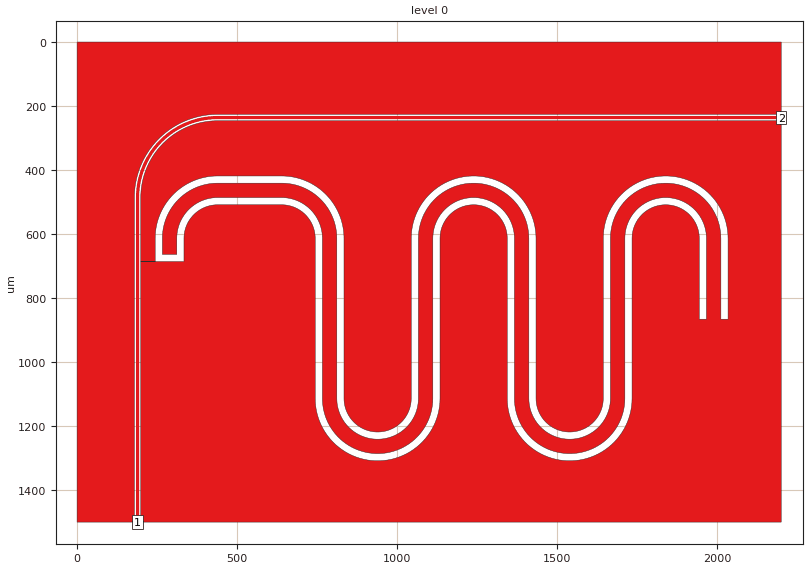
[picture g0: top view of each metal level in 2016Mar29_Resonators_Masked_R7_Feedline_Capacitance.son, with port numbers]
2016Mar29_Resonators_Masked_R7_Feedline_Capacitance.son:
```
FTYP SONPROJ 15 ! Sonnet Project File
VER 16.52
HEADER
LIC calt2.2.43068 b4ae2bd1247e DESKTOP-SL82IK9 Michael
DAT 04/07/2016 19:35:51
BUILT_BY_CREATED xgeom 16.52 03/26/2016 21:21:12
BUILT_BY_SAVED xgeom 16.52
MDATE 04/07/2016 18:21:02
HDATE 04/07/2016 18:21:02
END HEADER
DIM
FREQ GHZ
IND NH
LNG UM
ANG DEG
CON /OH
CAP PF
RES OH
END DIM
FREQ
ABS 5.9 6.2 
END FREQ
CONTROL
ABS
OPTIONS  -d 
SPEED 0
CACHE_ABS 1
TARG_ABS 300
Q_ACC N
DET_ABS_RES Y
END CONTROL
GEO
TMET "Lossless" 0 SUP 0 0 0 0
BMET "Lossless" 0 SUP 0 0 0 0
BOX 1 2201.5 1501.5 1258 858 20 0
      1000 1 1 0 0 0 0 "Air"
      500 11.9 1 5e-006 0 0 0 "Silicon (intrinsic)"
LORGN 0 1501.5 U 
POR1 STD
POLY 9 1
102
1 50 0 0 0 189 1500 
POR1 STD
POLY 9 1
50
2 50 0 0 0 2199.999997 236 
NUM 3
0 105 -1 N 9 1 1 100 100 0 0 0 Y
194 486
194.13 478.15
194.5 470.3
195.13 462.47
196.01 454.67
197.14 446.9
198.52 439.17
200.14 431.48
202.01 423.85
204.13 416.29
206.48 408.8
209.07 401.39
211.9 394.06
214.97 386.83
218.26 379.7
221.78 372.68
225.53 365.77
229.49 358.99
233.67 352.34
238.06 345.83
242.65 339.46
247.45 333.24
252.45 327.18
257.63 321.29
263 315.56
268.56 310
274.29 304.63
280.18 299.45
286.24 294.45
292.46 289.65
298.83 285.06
305.34 280.67
311.99 276.49
318.77 272.53
325.68 268.78
332.7 265.26
339.83 261.97
347.06 258.9
354.39 256.07
361.8 253.48
369.29 251.13
376.86 249.01
384.48 247.14
392.17 245.52
399.9 244.14
407.67 243.01
415.47 242.13
423.3 241.5
431.15 241.13
439 241
2199.999997 241
2199.999997 231
439 231
430.83 231.13
422.66 231.52
414.51 232.18
406.39 233.09
398.3 234.27
390.26 235.7
382.26 237.39
374.32 239.34
366.44 241.54
358.65 243.99
350.93 246.69
343.31 249.64
335.78 252.82
328.36 256.25
321.05 259.92
313.87 263.81
306.81 267.94
299.89 272.29
293.11 276.86
286.48 281.64
280.01 286.63
273.7 291.83
267.56 297.23
261.6 302.82
255.82 308.6
250.23 314.56
244.83 320.7
239.63 327.01
234.64 333.48
229.86 340.11
225.29 346.89
220.94 353.81
216.81 360.87
212.92 368.05
209.25 375.36
205.82 382.78
202.64 390.31
199.69 397.93
196.99 405.65
194.54 413.44
192.34 421.32
190.39 429.26
188.7 437.26
187.27 445.3
186.09 453.39
185.18 461.51
184.52 469.66
184.13 477.83
184 486
184 1500
194 1500
194 486
END
0 1266 -1 N 12 1 1 100 100 0 0 0 Y
2199.99993 246
439 246
431.31 246.12
423.62 246.49
415.95 247.11
408.31 247.97
400.7 249.08
393.12 250.43
385.6 252.02
378.12 253.85
370.71 255.92
363.37 258.23
356.11 260.77
348.94 263.54
341.85 266.54
334.87 269.77
327.99 273.22
321.23 276.88
314.59 280.77
308.07 284.86
301.69 289.16
295.45 293.66
289.36 298.36
283.43 303.25
277.65 308.33
272.04 313.6
266.6 319.04
261.33 324.65
256.25 330.43
251.36 336.36
246.66 342.45
242.16 348.69
237.86 355.07
233.77 361.59
229.88 368.23
226.22 374.99
222.77 381.87
219.54 388.85
216.54 395.94
213.77 403.11
211.23 410.37
208.92 417.71
206.85 425.12
205.02 432.6
203.43 440.12
202.08 447.7
200.97 455.31
200.11 462.95
199.49 470.62
199.12 478.31
199 486
199 686
244 686
244 613.5
244.1 607.25
244.4 601.01
244.9 594.78
245.6 588.56
246.5 582.38
247.6 576.22
248.89 570.11
250.38 564.04
252.06 558.02
253.93 552.05
256 546.15
258.25 540.32
260.69 534.57
263.31 528.89
266.11 523.31
269.09 517.81
272.25 512.41
275.57 507.12
279.07 501.94
282.72 496.87
286.54 491.92
290.52 487.1
294.65 482.4
298.92 477.84
303.34 473.42
307.9 469.15
312.6 465.02
317.42 461.04
322.37 457.22
327.44 453.57
332.62 450.07
337.91 446.75
343.31 443.59
348.81 440.61
354.39 437.81
360.07 435.19
365.82 432.75
371.65 430.5
377.55 428.43
383.52 426.56
389.54 424.88
395.61 423.39
401.72 422.1
407.88 421
414.06 420.1
420.28 419.4
426.51 418.9
432.75 418.6
439 418.5
639 418.5
645.25 418.6
651.49 418.9
657.72 419.4
663.94 420.1
670.12 421
676.28 422.1
682.39 423.39
688.46 424.88
694.48 426.56
700.45 428.43
706.35 430.5
712.18 432.75
717.93 435.19
723.61 437.81
729.19 440.61
734.69 443.59
740.09 446.75
745.38 450.07
750.56 453.57
755.63 457.22
760.58 461.04
765.4 465.02
770.1 469.15
774.66 473.42
779.08 477.84
783.35 482.4
787.48 487.1
791.46 491.92
795.28 496.87
798.93 501.94
802.43 507.12
805.75 512.41
808.91 517.81
811.89 523.31
814.69 528.89
817.31 534.57
819.75 540.32
822 546.15
824.07 552.05
825.94 558.02
827.62 564.04
829.11 570.11
830.4 576.22
831.5 582.38
832.4 588.56
833.1 594.78
833.6 601.01
833.9 607.25
834 613.5
834 1113.5
834.22 1120.23
834.86 1126.93
835.94 1133.57
837.43 1140.13
839.35 1146.59
841.67 1152.9
844.4 1159.06
847.51 1165.03
851 1170.78
854.85 1176.3
859.05 1181.56
863.57 1186.55
868.41 1191.23
873.53 1195.59
878.93 1199.62
884.57 1203.29
890.43 1206.59
896.5 1209.51
902.74 1212.04
909.13 1214.16
915.64 1215.87
922.24 1217.15
928.92 1218.01
935.64 1218.45
942.36 1218.45
949.08 1218.01
955.76 1217.15
962.36 1215.87
968.88 1214.16
975.26 1212.04
981.5 1209.51
987.57 1206.59
993.43 1203.29
999.07 1199.62
1004.47 1195.59
1009.59 1191.23
1014.43 1186.55
1018.95 1181.56
1023.15 1176.3
1027 1170.78
1030.49 1165.03
1033.6 1159.06
1036.33 1152.9
1038.65 1146.59
1040.57 1140.13
1042.06 1133.57
1043.14 1126.93
1043.78 1120.23
1044 1113.5
1044 613.5
1044.4 601.01
1045.6 588.56
1047.6 576.22
1050.38 564.04
1053.93 552.05
1058.25 540.32
1063.31 528.89
1069.09 517.81
1075.57 507.12
1082.72 496.87
1090.52 487.1
1098.92 477.84
1107.9 469.15
1117.42 461.04
1127.44 453.57
1137.91 446.75
1148.81 440.61
1160.07 435.19
1171.65 430.5
1183.52 426.56
1195.61 423.39
1207.88 421
1220.28 419.4
1232.75 418.6
1245.25 418.6
1257.72 419.4
1270.12 421
1282.39 423.39
1294.48 426.56
1306.35 430.5
1317.93 435.19
1329.19 440.61
1340.09 446.75
1350.56 453.57
1360.58 461.04
1370.1 469.15
1379.08 477.84
1387.48 487.1
1395.28 496.87
1402.43 507.12
1408.91 517.81
1414.69 528.89
1419.75 540.32
1424.07 552.05
1427.62 564.04
1430.4 576.22
1432.4 588.56
1433.6 601.01
1434 613.5
1434 1113.5
1434.22 1120.23
1434.86 1126.93
1435.94 1133.57
1437.43 1140.13
1439.35 1146.59
1441.67 1152.9
1444.4 1159.06
1447.51 1165.03
1451 1170.78
1454.85 1176.3
1459.05 1181.56
1463.57 1186.55
1468.41 1191.23
1473.53 1195.59
1478.93 1199.62
1484.57 1203.29
1490.43 1206.59
1496.5 1209.51
1502.74 1212.04
1509.13 1214.16
1515.64 1215.87
1522.24 1217.15
1528.92 1218.01
1535.64 1218.45
1542.36 1218.45
1549.08 1218.01
1555.76 1217.15
1562.36 1215.87
1568.88 1214.16
1575.26 1212.04
1581.5 1209.51
1587.57 1206.59
1593.43 1203.29
1599.07 1199.62
1604.47 1195.59
1609.59 1191.23
1614.43 1186.55
1618.95 1181.56
1623.15 1176.3
1627 1170.78
1630.49 1165.03
1633.6 1159.06
1636.33 1152.9
1638.65 1146.59
1640.57 1140.13
1642.06 1133.57
1643.14 1126.93
1643.78 1120.23
1644 1113.5
1644 613.5
1644.4 601.01
1645.6 588.56
1647.6 576.22
1650.38 564.04
1653.93 552.05
1658.25 540.32
1663.31 528.89
1669.09 517.81
1675.57 507.12
1682.72 496.87
1690.52 487.1
1698.92 477.84
1707.9 469.15
1717.42 461.04
1727.44 453.57
1737.91 446.75
1748.81 440.61
1760.07 435.19
1771.65 430.5
1783.52 426.56
1795.61 423.39
1807.88 421
1820.28 419.4
1832.75 418.6
1845.25 418.6
1857.72 419.4
1870.12 421
1882.39 423.39
1894.48 426.56
1906.35 430.5
1917.93 435.19
1929.2 440.61
1940.09 446.75
1950.56 453.57
1960.58 461.04
1970.1 469.15
1979.08 477.84
1987.48 487.1
1995.28 496.87
2002.43 507.12
2008.91 517.81
2014.69 528.89
2019.75 540.32
2024.07 552.05
2027.62 564.04
2030.4 576.22
2032.4 588.56
2033.6 601.01
2034 613.5
2034 866
2011.5 866
2011.5 613.5
2011.15 602.45
2010.08 591.44
2008.32 580.52
2005.86 569.74
2002.71 559.14
1998.89 548.77
1994.42 538.65
1989.3 528.85
1983.57 519.39
1977.24 510.33
1970.35 501.68
1962.92 493.49
1954.97 485.8
1946.55 478.63
1937.69 472.02
1928.42 465.99
1918.79 460.56
1908.82 455.76
1898.57 451.61
1888.08 448.13
1877.39 445.32
1866.53 443.21
1855.56 441.8
1844.53 441.09
1833.47 441.09
1822.44 441.8
1811.47 443.21
1800.61 445.32
1789.92 448.13
1779.43 451.61
1769.18 455.76
1759.21 460.56
1749.58 465.99
1740.31 472.02
1731.45 478.63
1723.03 485.8
1715.09 493.49
1707.65 501.68
1700.76 510.33
1694.43 519.39
1688.7 528.85
1683.58 538.65
1679.11 548.77
1675.29 559.14
1672.14 569.74
1669.68 580.52
1667.92 591.44
1666.85 602.45
1666.5 613.5
1666.5 1113.5
1666.24 1121.67
1665.45 1129.8
1664.15 1137.87
1662.33 1145.84
1660.01 1153.68
1657.18 1161.35
1653.87 1168.82
1650.09 1176.07
1645.86 1183.06
1641.18 1189.76
1636.08 1196.15
1630.59 1202.2
1624.72 1207.88
1618.49 1213.18
1611.94 1218.07
1605.1 1222.53
1597.97 1226.54
1590.61 1230.09
1583.03 1233.15
1575.28 1235.73
1567.37 1237.8
1559.35 1239.37
1551.24 1240.41
1543.09 1240.93
1534.91 1240.93
1526.76 1240.41
1518.65 1239.37
1510.63 1237.8
1502.72 1235.73
1494.97 1233.15
1487.39 1230.09
1480.03 1226.54
1472.9 1222.53
1466.06 1218.07
1459.51 1213.18
1453.28 1207.88
1447.41 1202.2
1441.92 1196.15
1436.82 1189.76
1432.14 1183.06
1427.91 1176.07
1424.13 1168.82
1420.82 1161.35
1417.99 1153.68
1415.67 1145.84
1413.85 1137.87
1412.55 1129.8
1411.76 1121.67
1411.5 1113.5
1411.5 613.5
1411.15 602.45
1410.08 591.44
1408.32 580.52
1405.86 569.74
1402.71 559.14
1398.89 548.77
1394.42 538.65
1389.3 528.85
1383.57 519.39
1377.24 510.33
1370.35 501.68
1362.92 493.49
1354.97 485.8
1346.55 478.63
1337.69 472.02
1328.42 465.99
1318.79 460.56
1308.82 455.76
1298.57 451.61
1288.08 448.13
1277.39 445.32
1266.53 443.21
1255.56 441.8
1244.53 441.09
1233.47 441.09
1222.44 441.8
1211.47 443.21
1200.61 445.32
1189.92 448.13
1179.43 451.61
1169.18 455.76
1159.21 460.56
1149.58 465.99
1140.31 472.02
1131.45 478.63
1123.03 485.8
1115.09 493.49
1107.65 501.68
1100.76 510.33
1094.43 519.39
1088.7 528.85
1083.58 538.65
1079.11 548.77
1075.29 559.14
1072.14 569.74
1069.68 580.52
1067.92 591.44
1066.85 602.45
1066.5 613.5
1066.5 1113.5
1066.24 1121.67
1065.45 1129.8
1064.15 1137.87
1062.33 1145.84
1060.01 1153.68
1057.18 1161.35
1053.87 1168.82
1050.09 1176.07
1045.86 1183.06
1041.18 1189.76
1036.08 1196.15
1030.59 1202.2
1024.72 1207.88
1018.49 1213.18
1011.94 1218.07
1005.1 1222.53
997.97 1226.54
990.61 1230.09
983.03 1233.15
975.28 1235.73
967.37 1237.8
959.35 1239.37
951.24 1240.41
943.09 1240.93
934.91 1240.93
926.76 1240.41
918.65 1239.37
910.63 1237.8
902.72 1235.73
894.97 1233.15
887.39 1230.09
880.03 1226.54
872.9 1222.53
866.06 1218.07
859.51 1213.18
853.28 1207.88
847.41 1202.2
841.92 1196.15
836.82 1189.76
832.14 1183.06
827.91 1176.07
824.13 1168.82
820.82 1161.35
817.99 1153.68
815.67 1145.84
813.85 1137.87
812.55 1129.8
811.76 1121.67
811.5 1113.5
811.5 613.5
811.41 607.97
811.15 602.45
810.7 596.94
810.08 591.44
809.29 585.97
808.32 580.52
807.18 575.11
805.86 569.74
804.37 564.42
802.71 559.14
800.89 553.93
798.89 548.77
796.74 543.68
794.42 538.65
791.94 533.71
789.3 528.85
786.51 524.08
783.57 519.39
780.48 514.81
777.24 510.33
773.87 505.95
770.35 501.68
766.7 497.53
762.92 493.49
759.01 489.58
754.97 485.8
750.82 482.15
746.55 478.63
742.17 475.26
737.69 472.02
733.11 468.93
728.42 465.99
723.65 463.2
718.79 460.56
713.85 458.08
708.82 455.76
703.73 453.61
698.57 451.61
693.36 449.79
688.08 448.13
682.76 446.64
677.39 445.32
671.98 444.18
666.53 443.21
661.06 442.42
655.56 441.8
650.05 441.35
644.53 441.09
639 441
439 441
433.47 441.09
427.95 441.35
422.44 441.8
416.94 442.42
411.47 443.21
406.03 444.18
400.61 445.32
395.24 446.64
389.92 448.13
384.64 449.79
379.43 451.61
374.27 453.61
369.18 455.76
364.15 458.08
359.21 460.56
354.35 463.2
349.58 465.99
344.9 468.93
340.31 472.02
335.83 475.26
331.45 478.63
327.18 482.15
323.03 485.8
318.99 489.58
315.09 493.49
311.3 497.53
307.65 501.68
304.13 505.95
300.76 510.33
297.52 514.81
294.43 519.39
291.49 524.08
288.7 528.85
286.06 533.71
283.58 538.65
281.26 543.68
279.11 548.77
277.11 553.93
275.29 559.14
273.63 564.42
272.14 569.74
270.82 575.11
269.68 580.52
268.71 585.97
267.92 591.44
267.3 596.94
266.85 602.45
266.59 607.97
266.5 613.5
266.5 663.5
311.5 663.5
311.5 613.5
311.57 609.41
311.76 605.33
312.09 601.26
312.55 597.2
313.13 593.15
313.85 589.13
314.7 585.13
315.67 581.16
316.77 577.22
317.99 573.32
319.35 569.47
320.82 565.65
322.41 561.89
324.13 558.18
325.96 554.53
327.91 550.93
329.97 547.4
332.14 543.94
334.43 540.56
336.82 537.24
339.32 534.01
341.92 530.85
344.61 527.78
347.41 524.8
350.3 521.91
353.28 519.11
356.35 516.42
359.51 513.82
362.74 511.32
366.06 508.93
369.44 506.64
372.9 504.47
376.43 502.41
380.03 500.46
383.68 498.63
387.39 496.91
391.15 495.32
394.97 493.85
398.82 492.49
402.72 491.27
406.66 490.17
410.63 489.2
414.63 488.35
418.65 487.63
422.7 487.05
426.76 486.59
430.83 486.26
434.91 486.07
439 486
639 486
643.09 486.07
647.17 486.26
651.24 486.59
655.3 487.05
659.35 487.63
663.37 488.35
667.37 489.2
671.34 490.17
675.28 491.27
679.18 492.49
683.03 493.85
686.85 495.32
690.61 496.91
694.32 498.63
697.97 500.46
701.57 502.41
705.1 504.47
708.56 506.64
711.94 508.93
715.26 511.32
718.49 513.82
721.65 516.42
724.72 519.11
727.7 521.91
730.59 524.8
733.39 527.78
736.08 530.85
738.68 534.01
741.18 537.24
743.57 540.56
745.86 543.94
748.03 547.4
750.09 550.93
752.04 554.53
753.87 558.18
755.59 561.89
757.18 565.65
758.65 569.47
760.01 573.32
761.23 577.22
762.33 581.16
763.3 585.13
764.15 589.13
764.87 593.15
765.45 597.2
765.91 601.26
766.24 605.33
766.43 609.41
766.5 613.5
766.5 1113.5
766.85 1124.55
767.92 1135.56
769.68 1146.47
772.14 1157.26
775.29 1167.86
779.11 1178.23
783.58 1188.34
788.7 1198.15
794.43 1207.6
800.76 1216.67
807.65 1225.32
815.09 1233.51
823.03 1241.2
831.45 1248.37
840.31 1254.98
849.58 1261.01
859.21 1266.44
869.18 1271.24
879.43 1275.39
889.92 1278.87
900.61 1281.67
911.47 1283.79
922.44 1285.2
933.47 1285.91
944.53 1285.91
955.56 1285.2
966.53 1283.79
977.39 1281.67
988.08 1278.87
998.57 1275.39
1008.82 1271.24
1018.79 1266.44
1028.42 1261.01
1037.69 1254.98
1046.55 1248.37
1054.97 1241.2
1062.92 1233.51
1070.35 1225.32
1077.24 1216.67
1083.57 1207.6
1089.3 1198.15
1094.42 1188.34
1098.89 1178.23
1102.71 1167.86
1105.86 1157.26
1108.32 1146.47
1110.08 1135.56
1111.15 1124.55
1111.5 1113.5
1111.5 613.5
1111.76 605.33
1112.55 597.2
1113.85 589.13
1115.67 581.16
1117.99 573.32
1120.82 565.65
1124.13 558.18
1127.91 550.93
1132.14 543.94
1136.82 537.24
1141.92 530.85
1147.41 524.8
1153.28 519.11
1159.51 513.82
1166.06 508.93
1172.9 504.47
1180.03 500.46
1187.39 496.91
1194.97 493.85
1202.72 491.27
1210.63 489.2
1218.65 487.63
1226.76 486.59
1234.91 486.07
1243.09 486.07
1251.24 486.59
1259.35 487.63
1267.37 489.2
1275.28 491.27
1283.03 493.85
1290.61 496.91
1297.97 500.46
1305.1 504.47
1311.94 508.93
1318.49 513.82
1324.72 519.11
1330.59 524.8
1336.08 530.85
1341.18 537.24
1345.86 543.94
1350.09 550.93
1353.87 558.18
1357.18 565.65
1360.01 573.32
1362.33 581.16
1364.15 589.13
1365.45 597.2
1366.24 605.33
1366.5 613.5
1366.5 1113.5
1366.85 1124.55
1367.92 1135.56
1369.68 1146.47
1372.14 1157.26
1375.29 1167.86
1379.11 1178.23
1383.58 1188.34
1388.7 1198.15
1394.43 1207.6
1400.76 1216.67
1407.65 1225.32
1415.09 1233.51
1423.03 1241.2
1431.45 1248.37
1440.31 1254.98
1449.58 1261.01
1459.21 1266.44
1469.18 1271.24
1479.43 1275.39
1489.92 1278.87
1500.61 1281.67
1511.47 1283.79
1522.44 1285.2
1533.47 1285.91
1544.53 1285.91
1555.56 1285.2
1566.53 1283.79
1577.39 1281.67
1588.08 1278.87
1598.57 1275.39
1608.82 1271.24
1618.79 1266.44
1628.42 1261.01
1637.69 1254.98
1646.55 1248.37
1654.97 1241.2
1662.92 1233.51
1670.35 1225.32
1677.24 1216.67
1683.57 1207.6
1689.3 1198.15
1694.42 1188.34
1698.89 1178.23
1702.71 1167.86
1705.86 1157.26
1708.32 1146.47
1710.08 1135.56
1711.15 1124.55
1711.5 1113.5
1711.5 613.5
1711.76 605.33
1712.55 597.2
1713.85 589.13
1715.67 581.16
1717.99 573.32
1720.82 565.65
1724.13 558.18
1727.91 550.93
1732.14 543.94
1736.82 537.24
1741.92 530.85
1747.41 524.8
1753.28 519.11
1759.51 513.82
1766.06 508.93
1772.9 504.47
1780.03 500.46
1787.39 496.91
1794.97 493.85
1802.72 491.27
1810.63 489.2
1818.65 487.63
1826.76 486.59
1834.91 486.07
1843.09 486.07
1851.24 486.59
1859.35 487.63
1867.37 489.2
1875.28 491.27
1883.03 493.85
1890.61 496.91
1897.97 500.46
1905.1 504.47
1911.95 508.93
1918.49 513.82
1924.72 519.11
1930.59 524.8
1936.08 530.85
1941.18 537.24
1945.86 543.94
1950.09 550.93
1953.87 558.18
1957.18 565.65
1960.01 573.32
1962.33 581.16
1964.15 589.13
1965.45 597.2
1966.24 605.33
1966.5 613.5
1966.5 866
1944 866
1944 613.5
1943.78 606.77
1943.14 600.07
1942.06 593.43
1940.57 586.87
1938.65 580.41
1936.33 574.1
1933.6 567.94
1930.49 561.98
1927 556.22
1923.15 550.7
1918.95 545.44
1914.43 540.45
1909.59 535.77
1904.47 531.41
1899.07 527.38
1893.43 523.71
1887.57 520.41
1881.5 517.49
1875.26 514.96
1868.88 512.84
1862.36 511.13
1855.76 509.85
1849.08 508.98
1842.36 508.55
1835.64 508.55
1828.92 508.98
1822.24 509.85
1815.64 511.13
1809.13 512.84
1802.74 514.96
1796.5 517.49
1790.43 520.41
1784.57 523.71
1778.93 527.38
1773.53 531.41
1768.41 535.77
1763.57 540.45
1759.05 545.44
1754.85 550.7
1751 556.22
1747.51 561.98
1744.4 567.94
1741.67 574.1
1739.35 580.41
1737.43 586.87
1735.94 593.43
1734.86 600.07
1734.22 606.77
1734 613.5
1734 1113.5
1733.6 1125.99
1732.4 1138.44
1730.4 1150.78
1727.62 1162.96
1724.07 1174.95
1719.75 1186.68
1714.69 1198.11
1708.91 1209.19
1702.43 1219.88
1695.28 1230.13
1687.48 1239.9
1679.08 1249.16
1670.1 1257.85
1660.58 1265.96
1650.56 1273.43
1640.09 1280.25
1629.19 1286.39
1617.93 1291.81
1606.35 1296.5
1594.48 1300.44
1582.39 1303.61
1570.12 1306
1557.72 1307.6
1545.25 1308.4
1532.75 1308.4
1520.28 1307.6
1507.88 1306
1495.61 1303.61
1483.52 1300.44
1471.65 1296.5
1460.07 1291.81
1448.81 1286.39
1437.91 1280.25
1427.44 1273.43
1417.42 1265.96
1407.9 1257.85
1398.92 1249.16
1390.52 1239.9
1382.72 1230.13
1375.57 1219.88
1369.09 1209.19
1363.31 1198.11
1358.25 1186.68
1353.93 1174.95
1350.38 1162.96
1347.6 1150.78
1345.6 1138.44
1344.4 1125.99
1344 1113.5
1344 613.5
1343.78 606.77
1343.14 600.07
1342.06 593.43
1340.57 586.87
1338.65 580.41
1336.33 574.1
1333.6 567.94
1330.49 561.98
1327 556.22
1323.15 550.7
1318.95 545.44
1314.43 540.45
1309.59 535.77
1304.47 531.41
1299.07 527.38
1293.43 523.71
1287.57 520.41
1281.5 517.49
1275.26 514.96
1268.88 512.84
1262.36 511.13
1255.76 509.85
1249.08 508.98
1242.36 508.55
1235.64 508.55
1228.92 508.98
1222.24 509.85
1215.64 511.13
1209.13 512.84
1202.74 514.96
1196.5 517.49
1190.43 520.41
1184.57 523.71
1178.93 527.38
1173.53 531.41
1168.41 535.77
1163.57 540.45
1159.05 545.44
1154.85 550.7
1151 556.22
1147.51 561.98
1144.4 567.94
1141.67 574.1
1139.35 580.41
1137.43 586.87
1135.94 593.43
1134.86 600.07
1134.22 606.77
1134 613.5
1134 1113.5
1133.6 1125.99
1132.4 1138.44
1130.4 1150.78
1127.62 1162.96
1124.07 1174.95
1119.75 1186.68
1114.69 1198.11
1108.91 1209.19
1102.43 1219.88
1095.28 1230.13
1087.48 1239.9
1079.08 1249.16
1070.1 1257.85
1060.58 1265.96
1050.56 1273.43
1040.09 1280.25
1029.19 1286.39
1017.93 1291.81
1006.35 1296.5
994.48 1300.44
982.39 1303.61
970.12 1306
957.72 1307.6
945.25 1308.4
932.75 1308.4
920.28 1307.6
907.88 1306
895.61 1303.61
883.52 1300.44
871.65 1296.5
860.07 1291.81
848.81 1286.39
837.91 1280.25
827.44 1273.43
817.42 1265.96
807.9 1257.85
798.92 1249.16
790.52 1239.9
782.72 1230.13
775.57 1219.88
769.09 1209.19
763.31 1198.11
758.25 1186.68
753.93 1174.95
750.38 1162.96
747.6 1150.78
745.6 1138.44
744.4 1125.99
744 1113.5
744 613.5
743.95 610.14
743.78 606.77
743.52 603.42
743.14 600.07
742.65 596.74
742.06 593.43
741.37 590.14
740.57 586.87
739.66 583.62
738.65 580.41
737.54 577.24
736.33 574.1
735.01 571
733.6 567.94
732.09 564.93
730.49 561.98
728.79 559.07
727 556.22
725.12 553.43
723.15 550.7
721.09 548.03
718.95 545.44
716.73 542.91
714.43 540.45
712.05 538.07
709.59 535.77
707.06 533.55
704.47 531.41
701.8 529.35
699.07 527.38
696.28 525.5
693.43 523.71
690.53 522.01
687.57 520.41
684.56 518.9
681.5 517.49
678.4 516.17
675.26 514.96
672.09 513.85
668.88 512.84
665.63 511.93
662.36 511.13
659.07 510.44
655.76 509.85
652.43 509.36
649.08 508.98
645.73 508.72
642.36 508.55
639 508.5
439 508.5
435.64 508.55
432.27 508.72
429 508.98
428.92 508.98
425.57 509.36
422.24 509.85
418.93 510.44
415.64 511.13
412.37 511.93
409.13 512.84
405.91 513.85
402.74 514.96
399.6 516.17
396.5 517.49
393.44 518.9
390.43 520.41
387.48 522.01
384.57 523.71
381.72 525.5
378.93 527.38
376.2 529.35
373.53 531.41
370.94 533.55
368.41 535.77
365.95 538.07
363.57 540.45
361.27 542.91
359.05 545.44
356.91 548.03
354.85 550.7
352.88 553.43
351 556.22
349.21 559.07
347.51 561.98
345.91 564.93
344.4 567.94
342.99 571
341.67 574.1
340.46 577.24
339.35 580.41
338.34 583.62
337.43 586.87
336.63 590.14
335.94 593.43
335.35 596.74
334.86 600.07
334.49 603.42
334.22 606.77
334.05 610.14
334 613.5
334 686
244 686
199 686
199 1500
2199.99993 1500
2199.99993 246
END
0 56 -1 N 13 1 1 100 100 0 0 0 Y
179 486
179.13 477.67
179.53 469.34
180.2 461.03
181.14 452.75
182.33 444.5
183.8 436.3
185.52 428.14
187.5 420.05
189.75 412.02
192.25 404.07
195 396.2
198 388.43
201.25 380.76
204.75 373.19
208.48 365.74
212.46 358.41
216.66 351.22
221.1 344.16
225.76 337.25
230.63 330.49
235.72 323.89
241.02 317.46
246.53 311.2
252.23 305.12
258.12 299.23
264.2 293.53
270.46 288.02
276.89 282.72
283.49 277.63
290.25 272.76
297.16 268.1
304.22 263.66
311.41 259.46
318.74 255.48
326.19 251.75
333.76 248.25
341.43 245
349.2 242
357.07 239.25
365.02 236.75
373.05 234.5
381.15 232.52
389.3 230.8
397.5 229.33
405.75 228.14
414.03 227.2
422.34 226.53
430.67 226.13
439 226
2199.999997 226
2199.999997 -4.291928872e-005
-2.56566259e-006 -4.291928872e-005
-2.56566259e-006 1500
179 1500
179 486
END
END GEO
OPT
MAX 100
VARS
END
END OPT
VARSWP
END VARSWP
QSG
IMPORT YES
EXTRA_METAL YES
UNITS NO
ALIGN NO
REF NO
VIEW_RES NO
METALS NO
USED YES
END QSG
```
